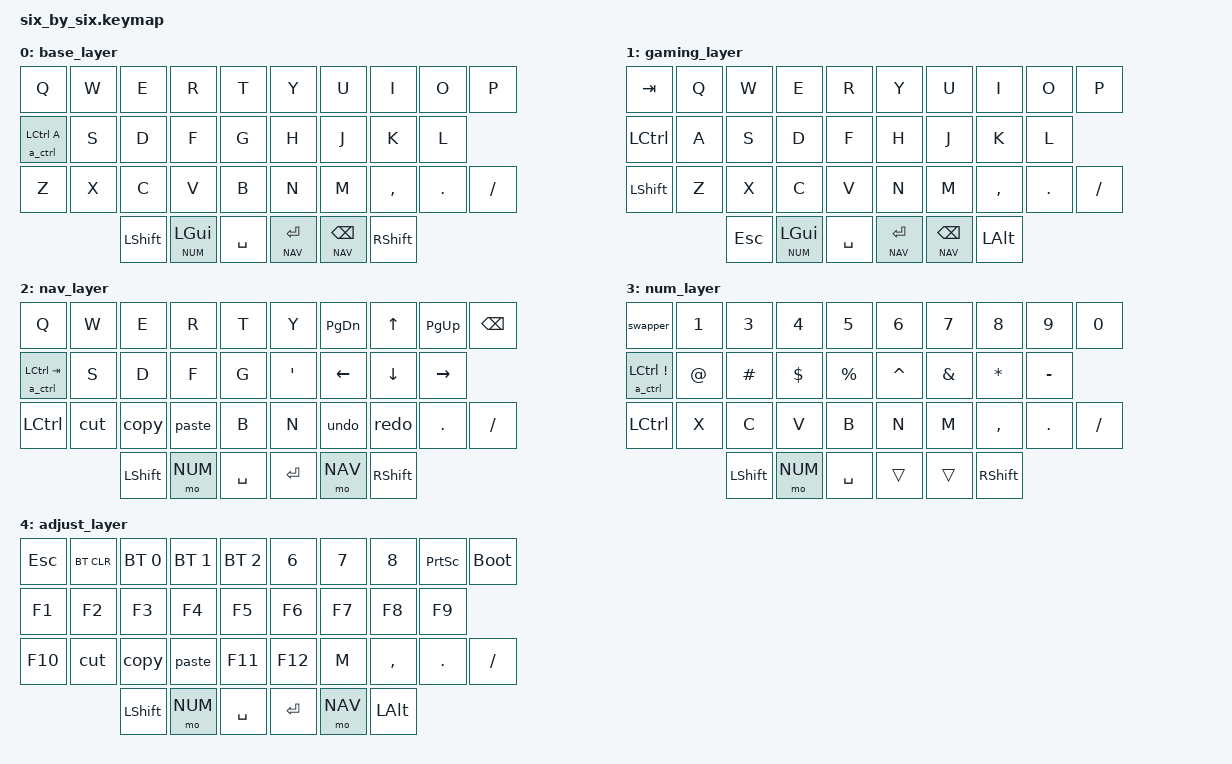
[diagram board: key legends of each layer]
#include <behaviors.dtsi>
#include <dt-bindings/zmk/keys.h>
#include <dt-bindings/zmk/bt.h>

#define BASE   0
#define GAMING 1
#define NAV    2
#define NUM    3
#define ADJUST 4

/* Include the combined behaviors file */
#include "6x6_behaviors.dtsi"

/ {
    conditional_layers {
        compatible = "zmk,conditional-layers";
        adjust_layer {
            if-layers = <NAV NUM>;
            then-layer = <ADJUST>;    // now correctly separate
        };
    };

    keymap {
        compatible = "zmk,keymap";

        base_layer {
       //┌─────┬─────┬─────┬─────┬─────┐   ┌─────┬─────┬─────┬─────┬─────┐
       //│  Q  │  W  │  E  │  R  │  T  │   │  Y  │  U  │  I  │  O  │  P  │
       //├─────┼─────┼─────┼─────┼─────┤   ├─────┼─────┼─────┼─────┼─────┤
       //│CtrlA│  S  │  D  │  F  │  G  │   │  H  │  J  │  K  │  L  │     │
       //├─────┼─────┼─────┼─────┼─────┤   ├─────┼─────┼─────┼─────┼─────┤
       //│  Z  │  X  │  C  │  V  │  B  │   │  N  │  M  │  ,  │  .  │  /  │
       //├─────┴─────┼─────┴─────┼─────┤   ├─────┴─────┼─────┼─────┴─────┤
       //│  LSHFT    │ NUM/LGUI  │SPACE│   │ENTER/NAV  │ BSPC│   RSHFT   │
       //└───────────┴───────────┴─────┘   └───────────┴─────┴───────────┘
            bindings = <
            &kp Q           &kp W       &kp E       &kp R         &kp T              &kp Y           &kp U        &kp I      &kp O     &kp P   
            &a_ctrl LCTL A  &kp S       &kp D       &kp F         &kp G              &kp H           &kp J        &kp K      &kp L     
            &kp Z           &kp X       &kp C       &kp V         &kp B              &kp N           &kp M        &kp COMMA  &kp DOT   &kp FSLH
                                        &kp LSHFT   &lt NUM LGUI  &kp SPACE          &lt NAV ENTER   &lt NAV BSPC &kp RSHFT  
            >;
        };

        gaming_layer {
       //┌─────┬─────┬─────┬─────┬─────┐   ┌─────┬─────┬─────┬─────┬─────┐
       //│ TAB │  Q  │  W  │  E  │  R  │   │  Y  │  U  │  I  │  O  │  P  │
       //├─────┼─────┼─────┼─────┼─────┤   ├─────┼─────┼─────┼─────┼─────┤
       //│ LCTL│  A  │  S  │  D  │  F  │   │  H  │  J  │  K  │  L  │     │
       //├─────┼─────┼─────┼─────┼─────┤   ├─────┼─────┼─────┼─────┼─────┤
       //│LSHFT│  Z  │  X  │  C  │  V  │   │  N  │  M  │  ,  │  .  │  /  │
       //├─────┴─────┼─────┴─────┼─────┤   ├─────┴─────┼─────┼─────┴─────┤
       //│  LSHFT    │ NUM/LGUI  │SPACE│   │ENTER/NAV  │ BSPC│   LALT    │
       //└───────────┴───────────┴─────┘   └───────────┴─────┴───────────┘
            bindings = <
            &kp TAB    &kp Q     &kp W        &kp E            &kp R                    &kp Y           &kp U     &kp I      &kp O     &kp P   
            &kp LCTL    &kp A     &kp S       &kp D            &kp F                    &kp H           &kp J     &kp K      &kp L     
            &kp LSHFT   &kp Z     &kp X       &kp C            &kp V                    &kp N           &kp M     &kp COMMA  &kp DOT   &kp FSLH
                                  &kp ESC     &lt NUM LGUI     &kp SPACE                &lt NAV ENTER             &lt NAV BSPC         &kp LALT  
            >;   
        };
        
       
        nav_layer {
       //┌─────┬─────┬─────┬─────┬─────┐   ┌─────┬────────┬─────┬────────┬─────┐
       //│  Q  │  W  │  E  │  R  │  T  │   │  Y  │ PG DOWN│  ↑  │  PG UP │ BSPC│
       //├─────┼─────┼─────┼─────┼─────┤   ├─────┼────────┼─────┼────────┼─────┤
       //│CTL/T│  S  │  D  │  F  │  G  │   │  '  │   ←    │  ↓  │   →    │     │
       //├─────┼─────┼─────┼─────┼─────┤   ├─────┼────────┼─────┼────────┼─────┤
       //│ LCTL│ CUT │COPY │PASTE│  B  │   │  N  │  UNDO  │ REDO│   .    │  /  │
       //├─────┴─────┼─────┴─────┼─────┤   ├─────┴────────┼─────┼────────┴─────┤
       //│  LSHFT    │ NUM/LGUI  │SPACE│   │ENTER/NAV     │ BSPC│      LALT    │
       //└───────────┴───────────┴─────┘   └──────────────┴─────┴──────────────┘
            bindings = <
            &kp Q            &kp W       &kp E       &kp R       &kp T              &kp Y      &kp PAGE_DOWN  &kp UP      &kp PAGE_UP    &kp BSPC   
            &a_ctrl LCTL TAB &kp S       &kp D       &kp F       &kp G              &kp SQT    &kp LEFT       &kp DOWN    &kp RIGHT
            &kp LCTL         &cut        &copy       &paste      &kp B              &kp N      &undo          &redo       &kp DOT        &kp FSLH
                                         &kp LSHFT   &mo NUM     &kp SPACE          &kp ENTER  &mo NAV        &kp RSHFT  
            >;
        };

        num_layer {
       //┌───────┬─────┬─────┬─────┬─────┐   ┌─────┬─────┬─────┬─────┬─────┐
       //│ALT/TAB│  1  │  3  │  4  │  5  │   │  6  │  7  │  8  │  9  │  0  │
       //├───────┼─────┼─────┼─────┼─────┤   ├─────┼─────┼─────┼─────┼─────┤
       //│Ctrl ! │  @  │  #  │  $  │  %  │   │  ^  │  &  │  *  │  -  │     │
       //├───────┼─────┼─────┼─────┼─────┤   ├─────┼─────┼─────┼─────┼─────┤
       //│ LCTL  │  X  │  C  │  V  │  B  │   │  N  │  M  │  ,  │  .  │  /  │
       //├───────┴─────┼─────┴─────┼─────┤   ├─────┴─────┼─────┼─────┴─────┤
       //│  LSHFT      │ NUM/LGUI  │SPACE│   │  ENTER/NAV   │ BSPC│  LALT  │
       //└─────────────┴───────────┴─────┘   └──────────────┴─────┴────────┘
            bindings = <
            &swapper          &kp N1      &kp N3      &kp N4      &kp N5             &kp N6    &kp N7    &kp N8     &kp N9    &kp N0  
            &a_ctrl LCTL EXCL &kp AT      &kp HASH    &kp DLLR    &kp PRCNT          &kp CARET &kp AMPS  &kp ASTRK  &kp MINUS        
            &kp LCTL          &kp X       &kp C       &kp V       &kp B              &kp N     &kp M     &kp COMMA  &kp DOT   &kp FSLH
                                          &kp LSHFT   &mo NUM     &kp SPACE          &trans    &trans    &kp RSHFT
            >;
        };

        adjust_layer {
       //┌─────┬────────┬────────┬────────┬────────┐   ┌─────┬─────┬─────┬────────────┬──────────┐
       //│ ESC │ BT CLR │ BT SEL0│ BT SEL1│ BT SEL2│   │  6  │  7  │  8  │ PRINTSCREEN│ BOOTLOAD │
       //├─────┼────────┼────────┼────────┼────────┤   ├─────┼─────┼─────┼────────────┼──────────┤
       //│  F1 │   F2   │   F3   │   F4   │   F5   │   │  F6 │  F7 │  F8 │    F9      │          │
       //├─────┼────────┼────────┼────────┼────────┤   ├─────┼─────┼─────┼────────────┼──────────┤
       //│ F10 │   CUT  │  COPY  │ PASTE  │   F11  │   │ F12 │  M  │  ,  │      .     │     /    │
       //├─────┴────────┼────────┴────────┼────────┤   ├─────┴─────┴─┬───┴────┬───────┴──────────┤
       //│  LSHFT       │ NUM/LGUI        │  SPACE │   │ ENTER/NAV   │ BSPC   │        LALT      │
       //└──────────────┴─────────────────┴────────┘   └─────────────┴────────┴──────────────────┘    
            bindings = <
            &kp ESC    &bt BT_CLR  &bt BT_SEL 0  &bt BT_SEL 1   &bt BT_SEL 2               &kp N6       &kp N7        &kp N8          &kp PRINTSCREEN  &bootloader 
            &kp F1     &kp F2      &kp F3        &kp F4         &kp F5                     &kp F6       &kp F7        &kp F8        &kp F9               
            &kp F10    &cut        &copy         &paste         &kp F11                    &kp F12      &kp M         &kp COMMA       &kp DOT          &kp FSLH
                                   &kp LSHFT  &mo NUM  &kp SPACE                           &kp ENTER    &mo NAV       &kp LALT  
            >;   
        };
    };
};
            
